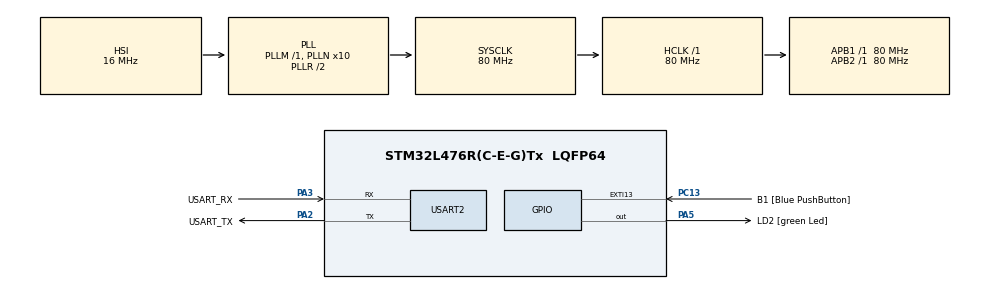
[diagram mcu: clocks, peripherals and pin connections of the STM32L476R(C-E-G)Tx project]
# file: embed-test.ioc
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Dma.Request0=USART2_TX
Dma.USART2_TX.0.Direction=DMA_MEMORY_TO_PERIPH
Dma.USART2_TX.0.Instance=DMA1_Channel7
Dma.USART2_TX.0.MemDataAlignment=DMA_MDATAALIGN_BYTE
Dma.USART2_TX.0.MemInc=DMA_MINC_ENABLE
Dma.USART2_TX.0.Mode=DMA_NORMAL
Dma.USART2_TX.0.PeriphDataAlignment=DMA_PDATAALIGN_BYTE
Dma.USART2_TX.0.PeriphInc=DMA_PINC_DISABLE
Dma.USART2_TX.0.Priority=DMA_PRIORITY_LOW
Mcu.Family=STM32L4
Mcu.Name=STM32L476R(C-E-G)Tx
Mcu.Package=LQFP64
NVIC.DMA1_Channel7_IRQn=true\:0\:0\:false\:false\:true\:false\:true\:true
NVIC.PriorityGroup=NVIC_PRIORITYGROUP_4
NVIC.USART2_IRQn=true\:0\:0\:false\:false\:true\:true\:true\:true
PA13\ (JTMS-SWDIO).GPIO_Label=TMS
PA13\ (JTMS-SWDIO).Mode=Serial_Wire
PA13\ (JTMS-SWDIO).Signal=SYS_JTMS-SWDIO
PA14\ (JTCK-SWCLK).GPIO_Label=TCK
PA14\ (JTCK-SWCLK).Mode=Serial_Wire
PA14\ (JTCK-SWCLK).Signal=SYS_JTCK-SWCLK
PA2.GPIO_Label=USART_TX
PA2.GPIO_Mode=GPIO_MODE_AF_PP
PA2.GPIO_PuPd=GPIO_NOPULL
PA2.GPIO_Speed=GPIO_SPEED_FREQ_VERY_HIGH
PA2.Mode=Asynchronous
PA2.Signal=USART2_TX
PA3.GPIO_Label=USART_RX
PA3.GPIO_Mode=GPIO_MODE_AF_PP
PA3.GPIO_PuPd=GPIO_NOPULL
PA3.GPIO_Speed=GPIO_SPEED_FREQ_VERY_HIGH
PA3.Mode=Asynchronous
PA3.Signal=USART2_RX
PA5.GPIO_Label=LD2 [green Led]
PA5.GPIO_ModeDefaultOutputPP=GPIO_MODE_OUTPUT_PP
PA5.GPIO_PuPd=GPIO_NOPULL
PA5.GPIO_Speed=GPIO_SPEED_FREQ_LOW
PA5.Signal=GPIO_Output
PB3\ (JTDO-TRACESWO).GPIO_Label=SWO
PB3\ (JTDO-TRACESWO).Signal=SYS_JTDO-SWO
PC13.GPIO_Label=B1 [Blue PushButton]
PC13.GPIO_ModeDefaultEXTI=GPIO_MODE_IT_FALLING
PC13.GPIO_PuPd=GPIO_NOPULL
PC13.Signal=GPXTI13
PC14-OSC32_IN\ (PC14).Mode=LSE-External-Oscillator
PC14-OSC32_IN\ (PC14).Signal=RCC_OSC32_IN
PC15-OSC32_OUT\ (PC15).Mode=LSE-External-Oscillator
PC15-OSC32_OUT\ (PC15).Signal=RCC_OSC32_OUT
PH0-OSC_IN\ (PH0).Signal=RCC_OSC_IN
PH1-OSC_OUT\ (PH1).Signal=RCC_OSC_OUT
ProjectManager.HeapSize=0x200
ProjectManager.StackSize=0x400
ProjectManager.TargetToolchain=STM32CubeIDE
RCC.ADCFreq_Value=64000000
RCC.AHBFreq_Value=80000000
RCC.APB1Freq_Value=80000000
RCC.APB1TimFreq_Value=80000000
RCC.APB2Freq_Value=80000000
RCC.APB2TimFreq_Value=80000000
RCC.CortexFreq_Value=80000000
RCC.HCLKFreq_Value=80000000
RCC.HSE_VALUE=8000000
RCC.HSI_VALUE=16000000
RCC.MSI_VALUE=4000000
RCC.PLLN=10
RCC.PLLSourceVirtual=RCC_PLLSOURCE_HSI
RCC.PREFETCH_ENABLE=1
RCC.SYSCLKFreq_VALUE=80000000
RCC.SYSCLKSource=RCC_SYSCLKSOURCE_PLLCLK
RCC.USBFreq_Value=64000000
RCC.VCOOutputFreq_Value=160000000
USART2.VirtualMode-Asynchronous=VM_ASYNC
board=NUCLEO-L476RG

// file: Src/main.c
/* USER CODE BEGIN Header */
/**
  ******************************************************************************
  * @file           : main.c
  * @brief          : Main program body
  ******************************************************************************
  * @attention
  *
  * Copyright (c) 2024 STMicroelectronics.
  * All rights reserved.
  *
  * This software is licensed under terms that can be found in the LICENSE file
  * in the root directory of this software component.
  * If no LICENSE file comes with this software, it is provided AS-IS.
  *
  *****************************************************************5*************
  */
/* USER CODE END Header */
#include "main.h"

/* USER CODE BEGIN Includes */
#define BUILD_SPALL
#include "base/base_inc.h"
#include "usart.h"
/* USER CODE END Includes */

UART_HandleTypeDef huart1;
UART_HandleTypeDef huart2;
DMA_HandleTypeDef hdma_usart1_tx;
DMA_HandleTypeDef hdma_usart2_tx;

void SystemClock_Config(void);
static void MX_GPIO_Init(void);
static void MX_DMA_Init(void);
void MX_USART1_UART_Init(void);
void MX_USART2_UART_Init(void);

int main(void)
{

    /* MCU Configuration--------------------------------------------------------*/

    /* Reset of all peripherals, Initializes the Flash interface and the Systick. */
    HAL_Init();

    /* Configure the system clock */
    SystemClock_Config();

    /* Initialize all configured peripherals */
    MX_GPIO_Init();
    MX_DMA_Init();
    MX_USART2_UART_Init();
    MX_USART2_UART_Init();
    /* USER CODE BEGIN 2 */

    /////////////////////////////
    //- karim: DWT Initialization
    //
    {
        if (!(CoreDebug->DEMCR & CoreDebug_DEMCR_TRCENA_Msk))
        {
            CoreDebug->DEMCR |= CoreDebug_DEMCR_TRCENA_Msk;
        }
        DWT->CYCCNT = 0;
        DWT->CTRL |= DWT_CTRL_CYCCNTENA_Msk;
    }

#ifdef BUILD_SPALL
    const char* reset_message = "MCU_RESET\n";
    spall__uart_write(&spall_ctx, (uint8_t*)reset_message, strlen(reset_message));

    HAL_Delay(1);
    volatile double freq = HAL_RCC_GetHCLKFreq();
    volatile double timestamp = Million(1) / freq;

    spall_ctx = spall_init_callbacks(
        timestamp,
        spall__uart_write,
        NULL,
        NULL,
        NULL,
        true
    );

    U8 buffer[Kilobytes(2)] = {0};
    spall_buffer = (SpallBuffer){
        .length = Kilobytes(2),
        .data = buffer
    };
#endif

    ProfBeginCapture();

    /* USER CODE END 2 */

    /* Infinite loop */
    /* USER CODE BEGIN WHILE */

    DWT->CYCCNT;
    while (1)
    {
        /////////////////////////////
        //- karim:
        //
        {
            ProfBegin("GPIO_PIN_SET");
            HAL_GPIO_WritePin(LD2_GPIO_Port, LD2_Pin, GPIO_PIN_SET);
            ProfEnd();
        }

        HAL_Delay(100);

        /////////////////////////////
        //- karim:
        //
        {
            ProfBegin("GPIO_PIN_RESET");
            HAL_GPIO_WritePin(LD2_GPIO_Port, LD2_Pin, GPIO_PIN_RESET);
            ProfEnd();
        }

        HAL_Delay(100);

        /////////////////////////////
        //- karim:
        //
        {
            ProfBegin("GPIO_TogglePin");
            HAL_GPIO_TogglePin(LD2_GPIO_Port, LD2_Pin);
            ProfEnd();
        }

        HAL_Delay(100);

    }

    /* USER CODE END WAHILE */

    /* USER CODE BEGIN 3 */
    ProfEndCapture();
    ProfilerQuit();
    /* USER CODE END 3 */
}

void SystemClock_Config(void)
{
    RCC_OscInitTypeDef RCC_OscInitStruct = {0};
    RCC_ClkInitTypeDef RCC_ClkInitStruct = {0};

    /** Configure the main internal regulator output voltage
    */
    if (HAL_PWREx_ControlVoltageScaling(PWR_REGULATOR_VOLTAGE_SCALE1) != HAL_OK)
    {
        Error_Handler();
    }

    /** Initializes the RCC Oscillators according to the specified parameters
    * in the RCC_OscInitTypeDef structure.
    */
    RCC_OscInitStruct.OscillatorType = RCC_OSCILLATORTYPE_HSI;
    RCC_OscInitStruct.HSIState = RCC_HSI_ON;
    RCC_OscInitStruct.HSICalibrationValue = RCC_HSICALIBRATION_DEFAULT;
    RCC_OscInitStruct.PLL.PLLState = RCC_PLL_ON;
    RCC_OscInitStruct.PLL.PLLSource = RCC_PLLSOURCE_HSI;
    RCC_OscInitStruct.PLL.PLLM = 1;
    RCC_OscInitStruct.PLL.PLLN = 10;
    RCC_OscInitStruct.PLL.PLLP = RCC_PLLP_DIV7;
    RCC_OscInitStruct.PLL.PLLQ = RCC_PLLQ_DIV2;
    RCC_OscInitStruct.PLL.PLLR = RCC_PLLR_DIV2;
    if (HAL_RCC_OscConfig(&RCC_OscInitStruct) != HAL_OK)
    {
        Error_Handler();
    }

    /** Initializes the CPU, AHB and APB buses clocks
    */
    RCC_ClkInitStruct.ClockType = RCC_CLOCKTYPE_HCLK | RCC_CLOCKTYPE_SYSCLK
        | RCC_CLOCKTYPE_PCLK1 | RCC_CLOCKTYPE_PCLK2;
    RCC_ClkInitStruct.SYSCLKSource = RCC_SYSCLKSOURCE_PLLCLK;
    RCC_ClkInitStruct.AHBCLKDivider = RCC_SYSCLK_DIV1;
    RCC_ClkInitStruct.APB1CLKDivider = RCC_HCLK_DIV1;
    RCC_ClkInitStruct.APB2CLKDivider = RCC_HCLK_DIV1;

    if (HAL_RCC_ClockConfig(&RCC_ClkInitStruct, FLASH_LATENCY_4) != HAL_OK)
    {
        Error_Handler();
    }
}

void MX_USART1_UART_Init(void)
{

    huart1.Instance = USART1;
    huart1.Init.BaudRate = 115200;
    huart1.Init.WordLength = UART_WORDLENGTH_8B;
    huart1.Init.StopBits = UART_STOPBITS_1;
    huart1.Init.Parity = UART_PARITY_NONE;
    huart1.Init.Mode = UART_MODE_TX_RX;
    huart1.Init.HwFlowCtl = UART_HWCONTROL_NONE;
    huart1.Init.OverSampling = UART_OVERSAMPLING_16;
    huart1.Init.OneBitSampling = UART_ONE_BIT_SAMPLE_DISABLE;
    huart1.AdvancedInit.AdvFeatureInit = UART_ADVFEATURE_NO_INIT;
    if (HAL_UART_Init(&huart1) != HAL_OK)
    {
        Error_Handler();
    }
}

void MX_USART2_UART_Init(void)
{

    huart2.Instance = USART2;
    huart2.Init.BaudRate = 115200;
    huart2.Init.WordLength = UART_WORDLENGTH_8B;
    huart2.Init.StopBits = UART_STOPBITS_1;
    huart2.Init.Parity = UART_PARITY_NONE;
    huart2.Init.Mode = UART_MODE_TX_RX;
    huart2.Init.HwFlowCtl = UART_HWCONTROL_NONE;
    huart2.Init.OverSampling = UART_OVERSAMPLING_16;
    huart2.Init.OneBitSampling = UART_ONE_BIT_SAMPLE_DISABLE;
    huart2.AdvancedInit.AdvFeatureInit = UART_ADVFEATURE_NO_INIT;
    if (HAL_UART_Init(&huart2) != HAL_OK)
    {
        Error_Handler();
    }
}

static void MX_DMA_Init(void)
{
    /* DMA controller clock enable */
    __HAL_RCC_DMA1_CLK_ENABLE();

    /* DMA interrupt init */
    /* DMA1_Channel7_IRQn interrupt configuration */
    HAL_NVIC_SetPriority(DMA1_Channel7_IRQn, 0, 0);
    HAL_NVIC_EnableIRQ(DMA1_Channel7_IRQn);
}

static void MX_GPIO_Init(void)
{
    GPIO_InitTypeDef GPIO_InitStruct = {0};

    /* GPIO Ports Clock Enable */
    __HAL_RCC_GPIOC_CLK_ENABLE();
    __HAL_RCC_GPIOH_CLK_ENABLE();
    __HAL_RCC_GPIOA_CLK_ENABLE();
    __HAL_RCC_GPIOB_CLK_ENABLE();

    /*Configure GPIO pin Output Level */
    HAL_GPIO_WritePin(LD2_GPIO_Port, LD2_Pin, GPIO_PIN_RESET);

    /*Configure GPIO pin : B1_Pin */
    GPIO_InitStruct.Pin = B1_Pin;
    GPIO_InitStruct.Mode = GPIO_MODE_IT_FALLING;
    GPIO_InitStruct.Pull = GPIO_NOPULL;
    HAL_GPIO_Init(B1_GPIO_Port, &GPIO_InitStruct);

    /*Configure GPIO pin : LD2_Pin */
    GPIO_InitStruct.Pin = LD2_Pin;
    GPIO_InitStruct.Mode = GPIO_MODE_OUTPUT_PP;
    GPIO_InitStruct.Pull = GPIO_NOPULL;
    GPIO_InitStruct.Speed = GPIO_SPEED_FREQ_LOW;
    HAL_GPIO_Init(LD2_GPIO_Port, &GPIO_InitStruct);

}

void Error_Handler(void)
{
    __disable_irq();
    while (1)
    {
    }
}
